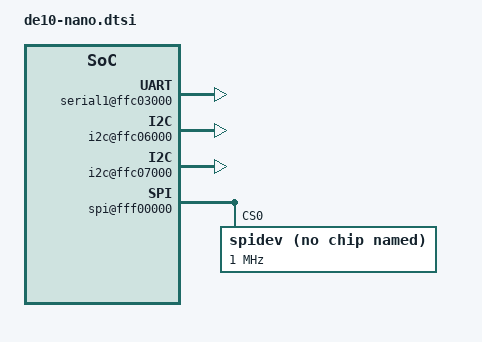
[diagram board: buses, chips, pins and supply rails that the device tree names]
/ {
	fragment@0 {
	        __overlay__ {
			// These are the bridges used in the design
	                fpga-bridges = <&fpga_bridge0 &fpga_bridge1 &fpga_bridge2>;
	                
			// I need to update SOPC2DTS to somehow include the "right" 
			// fpga generated clocks only.  for now, just add the ones needed
			clk_0: clk_0 {
				compatible = "fixed-clock";
				#clock-cells;
				clock-frequency;
				clock-output-names = "clk_0-clk";
			};

			fft_sub_clk_0: fft_sub_clk_0 {
				compatible = "fixed-clock";
				#clock-cells;
				clock-frequency;
				clock-output-names = "fft_sub_clk_0-clk";
			};

			pll_stream: pll_stream {
				compatible = "fixed-clock";
				#clock-cells;
				clock-frequency;
				clock-output-names = "pll_stream-clk";
			};

			// Add gpio-leds definitions
			leds: leds {
				compatible = "gpio-leds";

				led_fpga0: fpga0 {
					label = "fpga_led0";
					gpios = <&led_pio 0 0>;
				}; //end fpga0 (led_fpga0)

				led_fpga1: fpga1 {
					label = "fpga_led1";
					gpios = <&led_pio 1 0>;
				}; //end fpga1 (led_fpga1)

				led_fpga2: fpga2 {
					label = "fpga_led2";
					gpios = <&led_pio 2 0>;
				}; //end fpga2 (led_fpga2)

				led_fpga3: fpga3 {
					label = "fpga_led3";
					gpios = <&led_pio 3 0>;
				}; //end fpga3 (led_fpga3)

				led_fpga4: fpga4 {
					label = "fpga_led4";
					gpios = <&led_pio 4 0>;
				};

				led_fpga5: fpga5 {
					label = "fpga_led5";
					gpios = <&led_pio 5 0>;
				};

				led_fpga6: fpga6 {
					label = "fpga_led6";
					gpios = <&led_pio 6 0>;
				};

				led_fpga7: fpga7 {
					label = "fpga_led7";
					gpios = <&led_pio 7 0>;
				};
			};

			//Add gpio keys definitions
			keys: keys {
				compatible = "gpio-keys";
				#address-cells = <1>;
				#size-cells = <0>;

				SW0: SW0 {
					label = "SW0";
					gpios = <&dipsw_pio 0 1>;
					linux,code = <64>;
					debounce-interval = <50>;
				};

				SW1: SW1 {
					label = "SW1";
					gpios = <&dipsw_pio 1 1>;
					linux,code = <65>;
					debounce-interval = <50>;
				};

				SW2: SW2 {
					label = "SW2";
					gpios = <&dipsw_pio 2 1>;
					linux,code = <66>;
					debounce-interval = <50>;
				};

				SW3: SW3 {
					label = "SW3";
					gpios = <&dipsw_pio 3 1>;
					linux,code = <67>;
					debounce-interval = <50>;
				};
			};
		};
	};

	// UART for Arduino Header
	fragment@1 {
		target-path = "/soc/serial1@ffc03000";
		__overlay__ {
			status = "okay";
		};
	};

	// I2C for HDMI
	fragment@2 {
		target-path = "/soc/i2c@ffc06000";
		__overlay__ {
			status = "okay";
		};
	};

	// I2C for Arduino Header
	fragment@3 {
		target-path = "/soc/i2c@ffc07000";
		__overlay__ {
			status = "okay";
		};
	};

	// SPI for Arduino Header
	fragment@4 {
		target-path = "/soc/spi@fff00000";
		__overlay__ {
			num-cs = <1>;
			status = "okay";
		        spidev@0 {                                                              
				/* spidev causes a WARN_ON() so spoof with DAC compat */
				compatible = "rohm,dh2228fv";                                   
				reg = <0>;      /* chip select */                               
				spi-max-frequency = <1000000>;                                  
				enable-dma = <1>;                                               
			};
		};
	};

	// Display
	fragment@5 {
		target-path = "/aliases";
		__overlay__ {
			display0 = &framebuffer0;
		};
	};

	// Simple Framebuffer
	fragment@6 {
		target-path = "/soc";
		__overlay__ {
			stdout-path = "display0";
			framebuffer0: framebuffer@3F000000 {
				compatible = "simple-framebuffer";
				reg = <0x3F000000 8294400>;
				width = <1920>;
				height = <1080>;
				stride = <7680>;
				format = "x8r8g8b8";
			};
		};
	};
};
